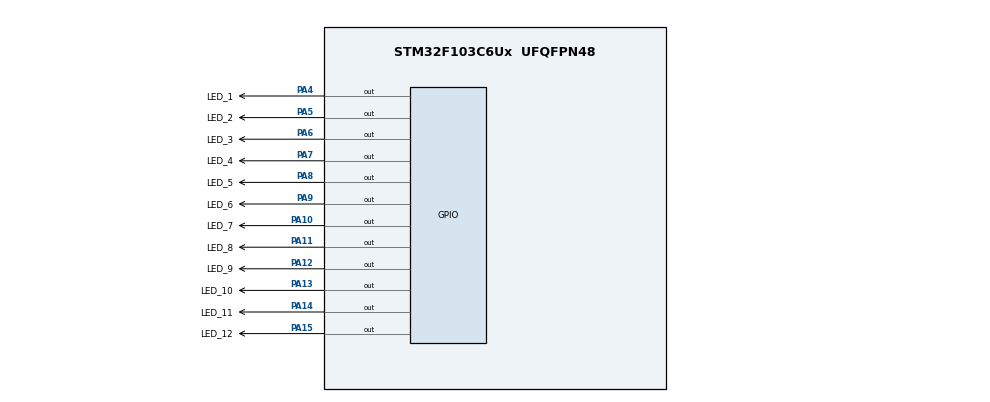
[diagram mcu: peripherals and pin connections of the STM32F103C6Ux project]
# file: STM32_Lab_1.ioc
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Mcu.Family=STM32F1
Mcu.Name=STM32F103C6Ux
Mcu.Package=UFQFPN48
NVIC.PriorityGroup=NVIC_PRIORITYGROUP_4
PA10.GPIO_Label=LED_7
PA10.Signal=GPIO_Output
PA11.GPIO_Label=LED_8
PA11.Signal=GPIO_Output
PA12.GPIO_Label=LED_9
PA12.Signal=GPIO_Output
PA13.GPIO_Label=LED_10
PA13.Signal=GPIO_Output
PA14.GPIO_Label=LED_11
PA14.Signal=GPIO_Output
PA15.GPIO_Label=LED_12
PA15.Signal=GPIO_Output
PA4.GPIO_Label=LED_1
PA4.Signal=GPIO_Output
PA5.GPIO_Label=LED_2
PA5.Signal=GPIO_Output
PA6.GPIO_Label=LED_3
PA6.Signal=GPIO_Output
PA7.GPIO_Label=LED_4
PA7.Signal=GPIO_Output
PA8.GPIO_Label=LED_5
PA8.Signal=GPIO_Output
PA9.GPIO_Label=LED_6
PA9.Signal=GPIO_Output
ProjectManager.HeapSize=0x200
ProjectManager.StackSize=0x400
ProjectManager.TargetToolchain=STM32CubeIDE
RCC.APB1Freq_Value=8000000
RCC.APB2Freq_Value=8000000
VP_SYS_VS_ND.Mode=No_Debug
board=custom

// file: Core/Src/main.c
/* USER CODE BEGIN Header */
/**
  ******************************************************************************
  * @file           : main.c
  * @brief          : Main program body
  ******************************************************************************
  * @attention
  *
  * <h2><center>&copy; Copyright (c) 2023 STMicroelectronics.
  * All rights reserved.</center></h2>
  *
  * This software component is licensed by ST under BSD 3-Clause license,
  * the "License"; You may not use this file except in compliance with the
  * License. You may obtain a copy of the License at:
  *                        opensource.org/licenses/BSD-3-Clause
  *
  ******************************************************************************
  */
/* USER CODE END Header */
#include "main.h"

void SystemClock_Config(void);
static void MX_GPIO_Init(void);

/* USER CODE BEGIN 0 */
int led_pins[] = {LED_1_Pin, LED_2_Pin, LED_3_Pin, LED_4_Pin, LED_5_Pin, LED_6_Pin, LED_7_Pin, LED_8_Pin, LED_9_Pin, LED_10_Pin, LED_11_Pin, LED_12_Pin};
void clock(int signal){
	HAL_GPIO_TogglePin(GPIOA, led_pins[signal]);
}

void clearAllClock(){
	HAL_GPIO_WritePin(GPIOA, LED_1_Pin|LED_2_Pin|LED_3_Pin|LED_4_Pin|LED_5_Pin|LED_6_Pin|LED_7_Pin|LED_8_Pin|LED_9_Pin|LED_10_Pin|LED_11_Pin|LED_12_Pin, RESET);
}

void setNumberOnClock(int num){
	HAL_GPIO_WritePin(GPIOA, led_pins[num], SET);
}

void clearNumberOnClock(int num){
	HAL_GPIO_WritePin(GPIOA, led_pins[num], RESET);
}

void setTime(int h, int m, int s){
	if(s > 60 || s < 0 || m > 60 || m < 0 || h > 23 || h < 0) return;
	clearAllClock();
	s = s / 5;
	m = m / 5;
	h = h % 12;

	if(s == 0) s = 12;
	if(m == 0) m = 12;
	if(h == 0) h = 12;
	setNumberOnClock(h - 1);
	setNumberOnClock(m - 1);
	setNumberOnClock(s - 1);
}
/* USER CODE END 0 */

int main(void)
{

  /* MCU Configuration--------------------------------------------------------*/

  /* Reset of all peripherals, Initializes the Flash interface and the Systick. */
  HAL_Init();

  /* Configure the system clock */
  SystemClock_Config();

  /* Initialize all configured peripherals */
  MX_GPIO_Init();
  /* USER CODE BEGIN 2 */
  int h = 0;
  int m = 0;
  int s = 0;
  /* USER CODE END 2 */

  /* Infinite loop */
  while (1)
  {
	if(s >= 60){
		s = 0;
		m++;
	}
	if(m >= 60){
		m = 0;
		h++;
	}
	if(h >= 12){
		h = 0;
	}
	setTime(h,m,s);
	s++;
	HAL_Delay(1000);
  }
}

void SystemClock_Config(void)
{
  RCC_OscInitTypeDef RCC_OscInitStruct = {0};
  RCC_ClkInitTypeDef RCC_ClkInitStruct = {0};

  /** Initializes the RCC Oscillators according to the specified parameters
  * in the RCC_OscInitTypeDef structure.
  */
  RCC_OscInitStruct.OscillatorType = RCC_OSCILLATORTYPE_HSI;
  RCC_OscInitStruct.HSIState = RCC_HSI_ON;
  RCC_OscInitStruct.HSICalibrationValue = RCC_HSICALIBRATION_DEFAULT;
  RCC_OscInitStruct.PLL.PLLState = RCC_PLL_NONE;
  if (HAL_RCC_OscConfig(&RCC_OscInitStruct) != HAL_OK)
  {
    Error_Handler();
  }
  /** Initializes the CPU, AHB and APB buses clocks
  */
  RCC_ClkInitStruct.ClockType = RCC_CLOCKTYPE_HCLK|RCC_CLOCKTYPE_SYSCLK
                              |RCC_CLOCKTYPE_PCLK1|RCC_CLOCKTYPE_PCLK2;
  RCC_ClkInitStruct.SYSCLKSource = RCC_SYSCLKSOURCE_HSI;
  RCC_ClkInitStruct.AHBCLKDivider = RCC_SYSCLK_DIV1;
  RCC_ClkInitStruct.APB1CLKDivider = RCC_HCLK_DIV1;
  RCC_ClkInitStruct.APB2CLKDivider = RCC_HCLK_DIV1;

  if (HAL_RCC_ClockConfig(&RCC_ClkInitStruct, FLASH_LATENCY_0) != HAL_OK)
  {
    Error_Handler();
  }
}

static void MX_GPIO_Init(void)
{
  GPIO_InitTypeDef GPIO_InitStruct = {0};

  /* GPIO Ports Clock Enable */
  __HAL_RCC_GPIOA_CLK_ENABLE();

  /*Configure GPIO pin Output Level */
  HAL_GPIO_WritePin(GPIOA, LED_1_Pin|LED_2_Pin|LED_3_Pin|LED_4_Pin
                          |LED_5_Pin|LED_6_Pin|LED_7_Pin|LED_8_Pin
                          |LED_9_Pin|LED_10_Pin|LED_11_Pin|LED_12_Pin, GPIO_PIN_RESET);

  /*Configure GPIO pins : LED_1_Pin LED_2_Pin LED_3_Pin LED_4_Pin
                           LED_5_Pin LED_6_Pin LED_7_Pin LED_8_Pin
                           LED_9_Pin LED_10_Pin LED_11_Pin LED_12_Pin */
  GPIO_InitStruct.Pin = LED_1_Pin|LED_2_Pin|LED_3_Pin|LED_4_Pin
                          |LED_5_Pin|LED_6_Pin|LED_7_Pin|LED_8_Pin
                          |LED_9_Pin|LED_10_Pin|LED_11_Pin|LED_12_Pin;
  GPIO_InitStruct.Mode = GPIO_MODE_OUTPUT_PP;
  GPIO_InitStruct.Pull = GPIO_NOPULL;
  GPIO_InitStruct.Speed = GPIO_SPEED_FREQ_LOW;
  HAL_GPIO_Init(GPIOA, &GPIO_InitStruct);

}

void Error_Handler(void)
{
  __disable_irq();
  while (1)
  {
  }
}

/************************ (C) COPYRIGHT STMicroelectronics *****END OF FILE****/
